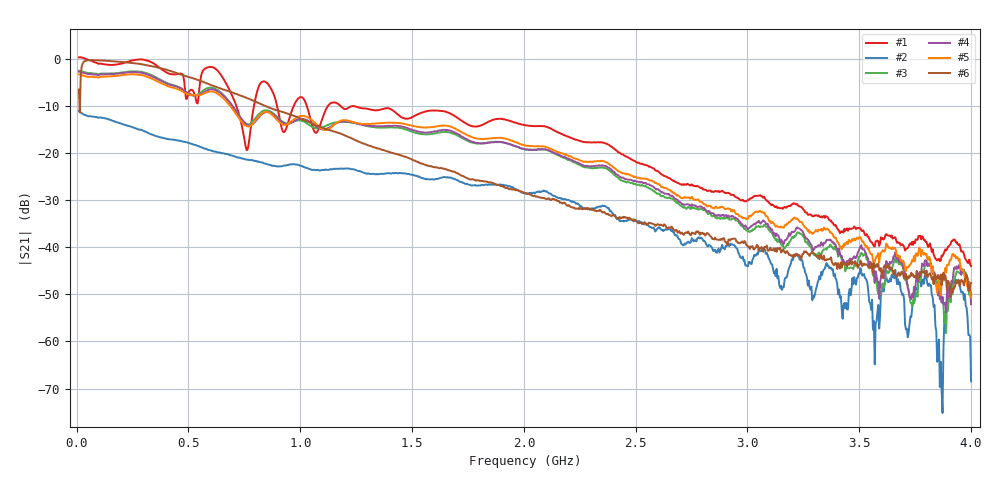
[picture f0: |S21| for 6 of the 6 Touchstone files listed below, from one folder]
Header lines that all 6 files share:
! Ref Plane: 0.000 mm
# MHZ S MA R  50
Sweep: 10 MHz to 4 GHz
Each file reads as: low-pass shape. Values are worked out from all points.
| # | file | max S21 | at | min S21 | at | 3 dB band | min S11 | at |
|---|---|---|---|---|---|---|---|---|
| 1 | destWasser.s2p | 0.32 dB | 13.99 MHz | -44.0 dB | 4 GHz | 10 MHz-393 MHz | -38.7 dB | 289.3 MHz |
| 2 | kochsalzLösung.s2p | -11.11 dB | 10 MHz | -75.2 dB | 3.872 GHz | 10 MHz-217.5 MHz | -7.4 dB | 556.6 MHz |
| 3 | KongStrong_mitGeschmack.s2p | -2.52 dB | 10 MHz | -58.2 dB | 3.888 GHz | 10 MHz-425 MHz | -18.3 dB | 285.3 MHz |
| 4 | KongStrong_mitZucker.s2p | -2.73 dB | 10 MHz | -53.9 dB | 3.888 GHz | 10 MHz-432.9 MHz | -17.9 dB | 285.3 MHz |
| 5 | KongStrong_ohneZucker.s2p | -3.28 dB | 245.4 MHz | -50.7 dB | 4 GHz | 10 MHz-440.9 MHz | -16.8 dB | 281.3 MHz |
| 6 | Spiritus.s2p | -0.26 dB | 61.87 MHz | -50.6 dB | 3.908 GHz | 21.97 MHz-460.9 MHz | -23.2 dB | 333.2 MHz |
